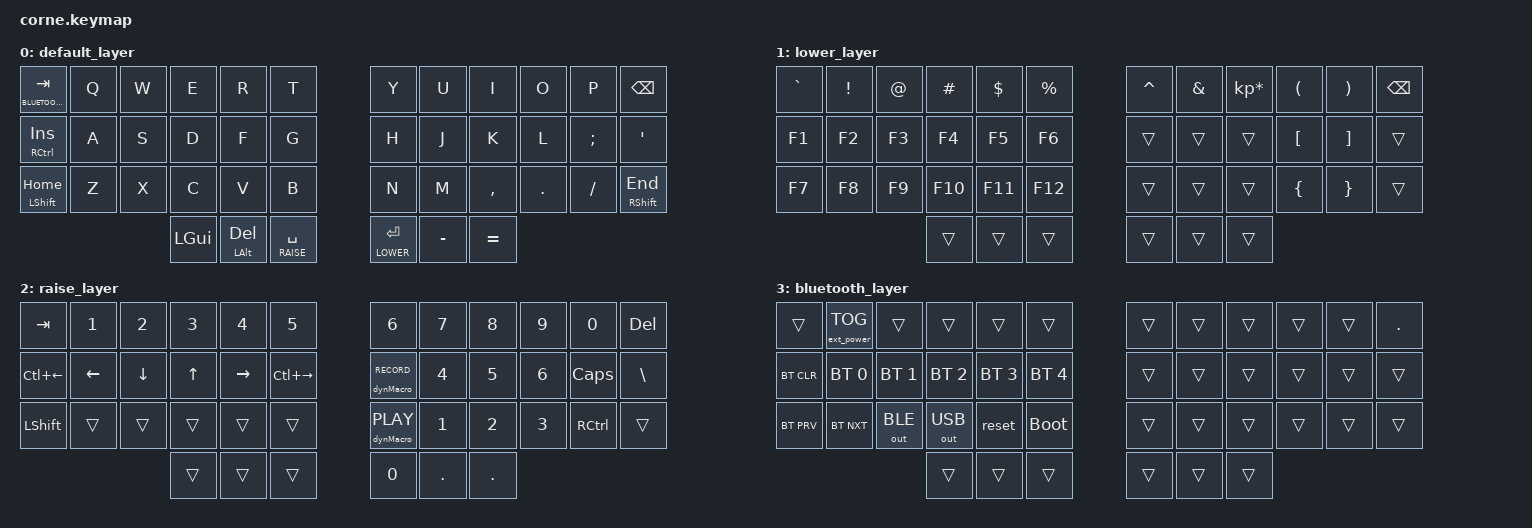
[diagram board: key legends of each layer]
/*
 * Copyright (c) 2020 The ZMK Contributors
 *
 * SPDX-License-Identifier: MIT
 * ajcav2@alex-desktop:~/zmk/app$ source ../zephyr/zephyr-env.sh
 * ajcav2@alex-desktop:~/zmk/app$ west build -d build/left -p -b nice_nano_v2 -- -DSHIELD=corne_left
 * ajcav2@alex-desktop:~/zmk/app$ west build -d build/right -p -b nice_nano_v2 -- -DSHIELD=corne_right
 */

#include <behaviors.dtsi>
#include <dt-bindings/zmk/keys.h>
#include <dt-bindings/zmk/bt.h>
#include <dt-bindings/zmk/outputs.h>
#include <dt-bindings/zmk/dynamic-macros.h>
#include <dt-bindings/zmk/ext_power.h>

#define DEFAULT 0
#define LOWER 1
#define RAISE 2
#define BLUETOOTH 3

/ {
    macros {
        dynMacro: dyn-macro {
            label = "ZM_dynamic-macro";
            compatible = "zmk,behavior-dynamic-macro";
            #binding-cells = <1>;
        };
    };
};

/ {
        keymap {
                compatible = "zmk,keymap";

                default_layer {
                        bindings = <
   &lt BLUETOOTH TAB   &kp Q &kp W &kp E    &kp R           &kp T            &kp Y           &kp U     &kp I     &kp O    &kp P    &kp BSPC
   &mt RCTRL INSERT    &kp A &kp S &kp D    &kp F           &kp G            &kp H           &kp J     &kp K     &kp L    &kp SEMI &kp SQT
   &mt LEFT_SHIFT HOME &kp Z &kp X &kp C    &kp V           &kp B            &kp N           &kp M     &kp COMMA &kp DOT  &kp FSLH &mt RIGHT_SHIFT END
                                   &kp LGUI &mt LALT DELETE &lt RAISE SPACE  &lt LOWER ENTER &kp MINUS &kp EQUAL
                        >;
                };
                lower_layer {
                        bindings = <
   &kp GRAVE &kp EXCL &kp AT    &kp HASH  &kp DLLR   &kp PRCNT  &kp CARET &kp AMPS  &kp KP_MULTIPLY  &kp LPAR &kp RPAR &kp BSPC
   &kp F1    &kp F2   &kp F3    &kp F4    &kp F5     &kp F6     &trans    &trans    &trans           &kp LBKT &kp RBKT &trans
   &kp F7    &kp F8   &kp F9    &kp F10   &kp F11    &kp F12    &trans    &trans    &trans           &kp LBRC &kp RBRC &trans
                    	        &trans    &trans     &trans     &trans    &trans    &trans
                       >;
                };
                raise_layer {
                        bindings = <
   &kp TAB      &kp N1       &kp N2       &kp N3       &kp N4       &kp N5          &kp N6             &kp N7       &kp N8       &kp N9    &kp N0    &kp DELETE
   &kp LC(LEFT) &kp LEFT     &kp DOWN     &kp UP       &kp RIGHT    &kp LC(RIGHT)   &dynMacro RECORD   &kp N4       &kp N5       &kp N6    &kp CAPS  &kp BSLH
   &kp LSHFT    &trans       &trans       &trans       &trans       &trans          &dynMacro PLAY     &kp N1       &kp N2       &kp N3    &kp RCTRL &trans
                          	          &trans       &trans       &trans          &kp N0             &kp DOT      &kp DOT  
                        >;
                };
                bluetooth_layer {
                        bindings = <
   &trans      &ext_power EP_TOG  &trans        &trans        &trans        &trans            &trans &trans &trans &trans &trans &kp DOT
   &bt BT_CLR  &bt BT_SEL 0       &bt BT_SEL 1  &bt BT_SEL 2  &bt BT_SEL 3  &bt BT_SEL 4      &trans &trans &trans &trans &trans &trans
   &bt BT_PRV  &bt BT_NXT         &out OUT_BLE  &out OUT_USB  &reset        &bootloader       &trans &trans &trans &trans &trans &trans
                    	                             &trans &trans   &trans   &trans   &trans    &trans
                        >;
                };
        };
};
